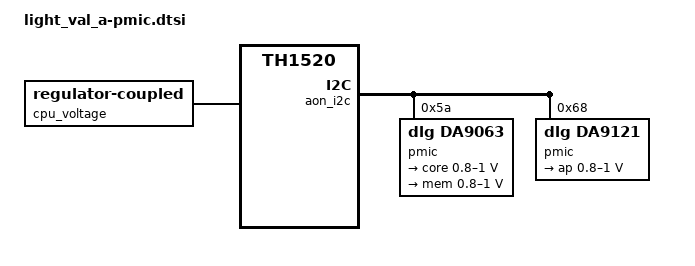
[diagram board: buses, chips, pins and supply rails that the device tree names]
/* SPDX-License-Identifier: Apache-2.0 */
#include <thead/th1520-cpu-dvfs.dtsi>

/ {
	cpu_voltage: cpu-voltage {
		compatible = "zephyr,regulator-coupled";
		regulator-name = "cpu";
		regulators = <&core &mem>;
		regulator-min-microvolt = <800000>;
		regulator-max-microvolt = <1000000>;
		regulator-always-on;
		voltage-step-microvolt = <10000>;
		min-spread-microvolt = <(-300000)>;
		max-spread-microvolt = <40000>;
	};
	zephyr,user { voltage-domains = <&cpu_voltage &ap>; };
};
&aon_i2c {
	status = "okay";
	pmic@5a {
		compatible = "dlg,da9063";
		reg = <0x5a>;
		timeout-counter = <&aon_timebase>;
		upper-bank-address = <0x5b>;
		regulators {
			#address-cells = <1>;
			#size-cells = <0>;
			core: regulator@0 {
				compatible = "dlg,da9063-regulator";
				reg = <0>;
				regulator-name = "bcore1";
				regulator-min-microvolt = <800000>;
				regulator-max-microvolt = <1000000>;
				regulator-always-on;
				settling-time-us = <250>;
			};
			mem: regulator@1 {
				compatible = "dlg,da9063-regulator";
				reg = <1>;
				regulator-name = "cpu-mem";
				regulator-min-microvolt = <800000>;
				regulator-max-microvolt = <1000000>;
				regulator-always-on;
				settling-time-us = <250>;
			};
		};
	};
	pmic@68 {
		compatible = "dlg,da9121";
		reg = <0x68>;
		timeout-counter = <&aon_timebase>;
		regulators {
			#address-cells = <1>;
			#size-cells = <0>;
			ap: regulator@0 {
				compatible = "dlg,da9121-regulator";
				reg = <0>;
				regulator-name = "ap";
				regulator-min-microvolt = <800000>;
				regulator-max-microvolt = <1000000>;
				regulator-always-on;
				settling-time-us = <2000>;
			};
		};
	};
};
